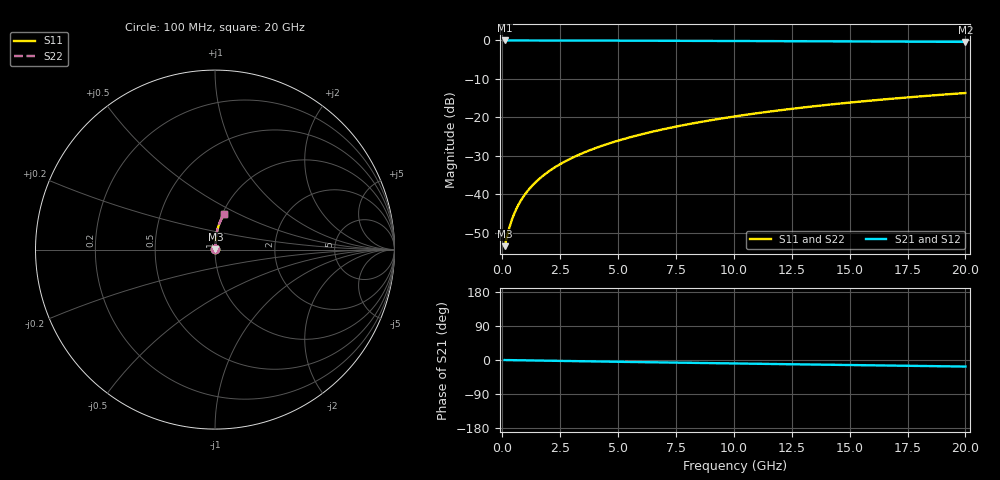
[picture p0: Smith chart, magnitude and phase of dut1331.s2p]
! Touchstone file exported from HFSS 2024.1.0
!  File:  C:/UserFiles/LocalFiles/RDL_TSV_Batchsim/temp_RDL_top_1331_1780365434.aedt
!  Generated:  09:59:55 AM Jun  2, 2026
!  Design:  RDL_top
!  Project:  temp_RDL_top_1331_1780365434
!  Setup:  Setup1
!  Solution:  Sweep
! Variables:
!  dtsv = 10.80580581um
!  hbump = 3um
!  htsv = 61.48um
!  ldown = 100um
!  lrdl = 201.69um
!  p = 40
!  p1 = 44.85um
!  rhole = 1um
!  t = 450um
!  tdown = 3.915915916um
!  trdl = 2.67um
!  wdown = 15.38538539um
!  wrdl = 16.95um
# GHz S MA R 50.000000
! Terminal data exported
! Port[1] = Box2_T1
! Port[2] = Box2_T2
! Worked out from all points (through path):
!   200 points, 100 MHz to 20 GHz, reference 50 ohm
!   highest |S21| = -0.02 dB at 100 MHz (marker M1); lowest = -0.4 dB at 20 GHz (marker M2)
!   group delay of S21, straight-line fit = 2.39 ps
!   lowest |S11| = -53.5 dB at 100 MHz (marker M3), VSWR 1.00, Z = 50.2 + j0.105 ohm
!   |S11| at or under -10 dB: start of sweep to end of sweep
!   |S22| runs from -53.5 to -13.7 dB; largest |S21 - S12| = 3.5e-15
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0.1  0.002114 29.5  0.9982 -0.1  0.9982 -0.1  0.002114 29.5
! Gamma 0 0 0 0
! Port Impedance 50 0 50 0
0.3  0.003634 58.2  0.9981 -0.3  0.9981 -0.3  0.003634 58.2
0.4  0.004534 64.3  0.998 -0.4  0.998 -0.4  0.004534 64.3
0.5  0.005455 68.3  0.9979 -0.5  0.9979 -0.5  0.005455 68.3
0.6  0.006385 71.2  0.9979 -0.6  0.9979 -0.6  0.006385 71.2
0.8  0.008259 75.1  0.9977 -0.8  0.9977 -0.8  0.008259 75.1
1  0.01015 77.6  0.9976 -1.0  0.9976 -1.0  0.01015 77.6
1.2  0.01205 79.4  0.9975 -1.2  0.9975 -1.2  0.01205 79.4
1.4  0.01396 80.7  0.9974 -1.4  0.9974 -1.4  0.01396 80.7
1.7  0.01685 82.1  0.9971 -1.6  0.9971 -1.6  0.01685 82.1
2.2  0.0217 83.6  0.9967 -2.1  0.9967 -2.1  0.0217 83.6
2.8  0.02759 84.7  0.9961 -2.7  0.9961 -2.7  0.02759 84.7
3.5  0.03454 85.4  0.9952 -3.3  0.9952 -3.3  0.03454 85.4
4.2  0.04157 85.8  0.9941 -4.0  0.9941 -4.0  0.04157 85.8
5  0.04971 85.9  0.9928 -4.7  0.9928 -4.7  0.04971 85.9
5.9  0.05899 85.8  0.9911 -5.5  0.9911 -5.5  0.05899 85.8
6.8  0.06838 85.5  0.9893 -6.3  0.9893 -6.3  0.06838 85.5
8.4  0.08527 84.8  0.9858 -7.7  0.9858 -7.7  0.08527 84.8
10.1  0.1034 83.7  0.9819 -9.2  0.9819 -9.2  0.1034 83.7
13.4  0.1386 81.1  0.9739 -12.0  0.9739 -12.0  0.1386 81.1
16.7  0.1732 78.4  0.9654 -14.7  0.9654 -14.7  0.1732 78.4
20  0.207 75.5  0.9565 -17.3  0.9565 -17.3  0.207 75.6
